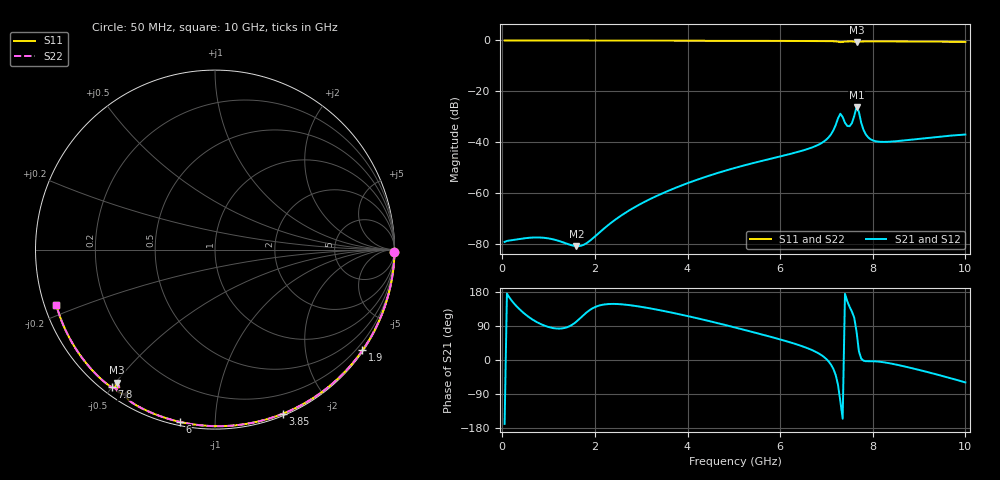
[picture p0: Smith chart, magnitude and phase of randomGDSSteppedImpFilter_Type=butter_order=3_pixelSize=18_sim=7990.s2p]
! freq	dB(S11)	phase(S11)	dB(S12)	phase(S12)
!  dB(S21)	phase(S21)	dB(S22)	phase(S22)
!S-par simulation data
#  GHz  S  DB  R 50
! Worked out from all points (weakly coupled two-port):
!   200 points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, 50 MHz to 10 GHz, reference 50 ohm
!   highest |S21| = -26.07 dB at 7.65 GHz (marker M1); lowest = -80.7 dB at 1.6 GHz (marker M2)
!   lowest |S11| = -0.7 dB at 7.65 GHz (marker M3), VSWR 23.96, Z = 2.62 - j25.3 ohm
!   |S11| at or under -10 dB: nowhere
!   |S22| runs from -0.7 to 0.0 dB; largest |S21 - S12| = 0
!   S11 on the Smith chart (normalised r, x): 50 MHz: open; 1.9 GHz: 0.03, -3.24; 3.85 GHz: 0.02, -1.49; 6 GHz: 0.02, -0.82; 7.8 GHz: 0.03, -0.50; 10 GHz: 0.03, -0.17
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0.05  -0.00 -0.9  -79.00 -168.7  -79.00 -168.7  -0.00 -0.9
0.8  -0.02 -14.6  -77.26 96.6  -77.26 96.6  -0.02 -14.6
1.6  -0.04 -29.0  -80.67 101.2  -80.67 101.2  -0.04 -29.0
1.75  -0.04 -31.7  -80.18 117.9  -80.18 117.9  -0.04 -31.7
1.9  -0.04 -34.3  -78.42 132.7  -78.42 132.7  -0.04 -34.3
2.6  -0.06 -46.5  -68.26 146.7  -68.26 146.7  -0.06 -46.5
3.4  -0.08 -60.1  -60.42 131.4  -60.42 131.4  -0.08 -60.1
3.85  -0.09 -67.6  -57.00 120.1  -57.00 120.1  -0.09 -67.6
5.05  -0.13 -86.9  -49.84 85.1  -49.84 85.1  -0.13 -86.9
6  -0.18 -101.6  -45.48 54.3  -45.48 54.3  -0.18 -101.6
6.7  -0.22 -112.3  -41.89 25.6  -41.89 25.6  -0.22 -112.3
7.05  -0.26 -117.9  -37.92 -4.3  -37.92 -4.3  -0.26 -117.9
7.3  -0.65 -121.6  -28.73 -109.2  -28.73 -109.2  -0.67 -121.6
7.45  -0.39 -122.6  -33.55 154.8  -33.55 154.8  -0.39 -122.6
7.5  -0.37 -123.7  -33.62 140.2  -33.62 140.2  -0.37 -123.6
7.55  -0.39 -124.8  -32.39 127.6  -32.39 127.6  -0.39 -124.7
7.65  -0.73 -126.3  -26.07 74.6  -26.07 74.6  -0.71 -126.2
7.7  -0.60 -124.8  -28.03 23.4  -28.03 23.4  -0.59 -124.8
7.8  -0.37 -126.9  -35.08 -1.8  -35.08 -1.8  -0.37 -126.9
8  -0.34 -130.4  -39.17 -3.3  -39.17 -3.3  -0.34 -130.4
8.35  -0.37 -135.8  -39.72 -8.3  -39.72 -8.3  -0.37 -135.8
10  -0.57 -160.8  -36.88 -59.2  -36.88 -59.2  -0.57 -160.8
